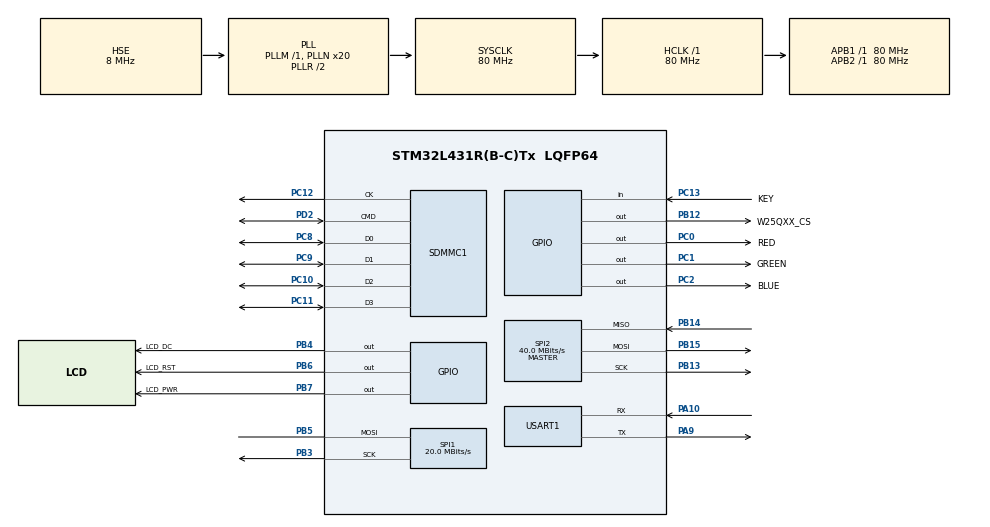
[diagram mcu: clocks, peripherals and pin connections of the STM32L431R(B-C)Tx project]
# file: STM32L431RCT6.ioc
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Mcu.Family=STM32L4
Mcu.Name=STM32L431R(B-C)Tx
Mcu.Package=LQFP64
NVIC.PriorityGroup=NVIC_PRIORITYGROUP_4
PA10.Mode=Asynchronous
PA10.Signal=USART1_RX
PA13\ (JTMS-SWDIO).Mode=Serial_Wire
PA13\ (JTMS-SWDIO).Signal=SYS_JTMS-SWDIO
PA14\ (JTCK-SWCLK).Mode=Serial_Wire
PA14\ (JTCK-SWCLK).Signal=SYS_JTCK-SWCLK
PA9.Mode=Asynchronous
PA9.Signal=USART1_TX
PB12.GPIO_Label=W25QXX_CS
PB12.GPIO_PuPd=GPIO_PULLUP
PB12.GPIO_Speed=GPIO_SPEED_FREQ_VERY_HIGH
PB12.PinState=GPIO_PIN_SET
PB12.Signal=GPIO_Output
PB13.Mode=Full_Duplex_Master
PB13.Signal=SPI2_SCK
PB14.Mode=Full_Duplex_Master
PB14.Signal=SPI2_MISO
PB15.Mode=Full_Duplex_Master
PB15.Signal=SPI2_MOSI
PB3\ (JTDO-TRACESWO).GPIO_PuPd=GPIO_PULLUP
PB3\ (JTDO-TRACESWO).Mode=Simplex_Bidirectional_Master
PB3\ (JTDO-TRACESWO).Signal=SPI1_SCK
PB4\ (NJTRST).GPIO_Label=LCD_DC
PB4\ (NJTRST).GPIO_PuPd=GPIO_PULLUP
PB4\ (NJTRST).GPIO_Speed=GPIO_SPEED_FREQ_VERY_HIGH
PB4\ (NJTRST).Signal=GPIO_Output
PB5.GPIO_PuPd=GPIO_PULLUP
PB5.Mode=Simplex_Bidirectional_Master
PB5.Signal=SPI1_MOSI
PB6.GPIO_Label=LCD_RST
PB6.GPIO_PuPd=GPIO_PULLUP
PB6.GPIO_Speed=GPIO_SPEED_FREQ_VERY_HIGH
PB6.Signal=GPIO_Output
PB7.GPIO_Label=LCD_PWR
PB7.GPIO_PuPd=GPIO_PULLUP
PB7.GPIO_Speed=GPIO_SPEED_FREQ_VERY_HIGH
PB7.Signal=GPIO_Output
PC0.GPIO_Label=RED
PC0.GPIO_PuPd=GPIO_PULLUP
PC0.PinState=GPIO_PIN_SET
PC0.Signal=GPIO_Output
PC1.GPIO_Label=GREEN
PC1.GPIO_PuPd=GPIO_PULLUP
PC1.PinState=GPIO_PIN_SET
PC1.Signal=GPIO_Output
PC10.Mode=SD_4_bits_Wide_bus
PC10.Signal=SDMMC1_D2
PC11.Mode=SD_4_bits_Wide_bus
PC11.Signal=SDMMC1_D3
PC12.Mode=SD_4_bits_Wide_bus
PC12.Signal=SDMMC1_CK
PC13.GPIO_Label=KEY
PC13.GPIO_Mode=GPIO_MODE_INPUT
PC13.GPIO_PuPd=GPIO_PULLUP
PC13.Signal=GPIO_Input
PC2.GPIO_Label=BLUE
PC2.GPIO_PuPd=GPIO_PULLUP
PC2.PinState=GPIO_PIN_SET
PC2.Signal=GPIO_Output
PC8.Mode=SD_4_bits_Wide_bus
PC8.Signal=SDMMC1_D0
PC9.Mode=SD_4_bits_Wide_bus
PC9.Signal=SDMMC1_D1
PD2.Mode=SD_4_bits_Wide_bus
PD2.Signal=SDMMC1_CMD
PH0-OSC_IN\ (PH0).Mode=HSE-External-Oscillator
PH0-OSC_IN\ (PH0).Signal=RCC_OSC_IN
PH1-OSC_OUT\ (PH1).Mode=HSE-External-Oscillator
PH1-OSC_OUT\ (PH1).Signal=RCC_OSC_OUT
ProjectManager.HeapSize=0x200
ProjectManager.StackSize=0x400
ProjectManager.TargetToolchain=MDK-ARM V5.27
RCC.ADCFreq_Value=32000000
RCC.AHBFreq_Value=80000000
RCC.APB1Freq_Value=80000000
RCC.APB1TimFreq_Value=80000000
RCC.APB2Freq_Value=80000000
RCC.APB2TimFreq_Value=80000000
RCC.CortexFreq_Value=80000000
RCC.HCLKFreq_Value=80000000
RCC.HSE_VALUE=8000000
RCC.HSI48_VALUE=48000000
RCC.HSI_VALUE=16000000
RCC.LSE_VALUE=32768
RCC.MSI_VALUE=4000000
RCC.PLLN=20
RCC.PLLSourceVirtual=RCC_PLLSOURCE_HSE
RCC.SYSCLKFreq_VALUE=80000000
RCC.SYSCLKSource=RCC_SYSCLKSOURCE_PLLCLK
RCC.VCOOutputFreq_Value=160000000
SDMMC1.ClockDiv=2
SPI1.BaudRatePrescaler=SPI_BAUDRATEPRESCALER_4
SPI1.CLKPhase=SPI_PHASE_2EDGE
SPI1.CLKPolarity=SPI_POLARITY_HIGH
SPI1.CalculateBaudRate=20.0 MBits/s
SPI1.DataSize=SPI_DATASIZE_8BIT
SPI1.Direction=SPI_DIRECTION_1LINE
SPI1.Mode=SPI_MODE_MASTER
SPI1.VirtualType=VM_MASTER
SPI2.CalculateBaudRate=40.0 MBits/s
SPI2.DataSize=SPI_DATASIZE_8BIT
SPI2.Direction=SPI_DIRECTION_2LINES
SPI2.Mode=SPI_MODE_MASTER
SPI2.VirtualType=VM_MASTER
USART1.VirtualMode-Asynchronous=VM_ASYNC
VP_FATFS_VS_SDIO.Mode=SDIO
board=custom

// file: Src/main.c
/* USER CODE BEGIN Header */
/**
  ******************************************************************************
  * @file           : main.c
  * @brief          : Main program body
  ******************************************************************************
  * @attention
  *
  * <h2><center>&copy; Copyright (c) 2020 STMicroelectronics.
  * All rights reserved.</center></h2>
  *
  * This software component is licensed by ST under BSD 3-Clause license,
  * the "License"; You may not use this file except in compliance with the
  * License. You may obtain a copy of the License at:
  *                        opensource.org/licenses/BSD-3-Clause
  *
  ******************************************************************************
  */
/* USER CODE END Header */
#include "main.h"
#include "fatfs.h"
#include "sdmmc.h"
#include "spi.h"
#include "usart.h"
#include "gpio.h"

/* USER CODE BEGIN Includes */
#include "stdio.h"
#include "tftlcd.h"
#include "w25qxx.h"
/* USER CODE END Includes */

void SystemClock_Config(void);

/* USER CODE BEGIN 0 */
	char str[50] = {0};
	u8 t;

HAL_SD_CardInfoTypeDef  SDCardInfo;

void printf_sdcard_info(void)
{
	uint64_t CardCap;      	//SD卡容量
	HAL_SD_CardCIDTypeDef SDCard_CID;

	HAL_SD_GetCardCID(&hsd1,&SDCard_CID);	//获取CID
	HAL_SD_GetCardInfo(&hsd1,&SDCardInfo);                    //获取SD卡信息
	CardCap=(uint64_t)(SDCardInfo.LogBlockNbr)*(uint64_t)(SDCardInfo.LogBlockSize);	//计算SD卡容量
	switch(SDCardInfo.CardType)
	{
		case CARD_SDSC:
		{
			if(SDCardInfo.CardVersion == CARD_V1_X)
				printf("Card Type:SDSC V1\r\n");
			else if(SDCardInfo.CardVersion == CARD_V2_X)
				printf("Card Type:SDSC V2\r\n");
		}
		break;
		case CARD_SDHC_SDXC:printf("Card Type:SDHC\r\n");break;
		default:break;
	}

  printf("Card ManufacturerID: %d \r\n",SDCard_CID.ManufacturerID);				//制造商ID
 	printf("CardVersion:         %d \r\n",(uint32_t)(SDCardInfo.CardVersion));		//卡版本号
	printf("Class:               %d \r\n",(uint32_t)(SDCardInfo.Class));		    //
 	printf("Card RCA(RelCardAdd):%d \r\n",SDCardInfo.RelCardAdd);					//卡相对地址
	printf("Card BlockNbr:       %d \r\n",SDCardInfo.BlockNbr);						//块数量
 	printf("Card BlockSize:      %d \r\n",SDCardInfo.BlockSize);					//块大小
	printf("LogBlockNbr:         %d \r\n",(uint32_t)(SDCardInfo.LogBlockNbr));		//逻辑块数量
	printf("LogBlockSize:        %d \r\n",(uint32_t)(SDCardInfo.LogBlockSize));		//逻辑块大小
	printf("Card Capacity:       %d MB\r\n",(uint32_t)(CardCap>>20));				//卡容量
}

/**
  * @brief  compares two buffers.
  * @param  pbuffer1, pbuffer2: buffers to be compared.
  * @param  buffer_length: buffer's length
  * @retval 1: pbuffer1 identical to pbuffer2
  *         0: pbuffer1 differs from pbuffer2
  */
uint8_t buffer_compare(uint8_t* pbuffer1, uint8_t* pbuffer2, uint16_t buffer_length)
{
  while(buffer_length--)
  {
    if(*pbuffer1 != *pbuffer2)
    {
      return 0;
    }
    pbuffer1++;
    pbuffer2++;
  }
  return 1;
}

  const char wbuf[] = "BORING-TECH STM32 TEST";
  char rbuf[50];

  const char wbuf1[] = "BORING-TECH STM32 TEST1";
  char rbuf1[20];
/* USER CODE END 0 */

int main(void)
{
  /* USER CODE BEGIN 1 */
	u8 color = 0;
	u32 flash_size;
		u8 sd_datus;
	u8 sd_buf;
  /* USER CODE END 1 */

  /* MCU Configuration--------------------------------------------------------*/

  /* Reset of all peripherals, Initializes the Flash interface and the Systick. */
  HAL_Init();

  /* Configure the system clock */
  SystemClock_Config();

  /* Initialize all configured peripherals */
  MX_GPIO_Init();
  MX_SPI1_Init();
  MX_SDMMC1_SD_Init();
  MX_SPI2_Init();
  MX_USART1_UART_Init();
  MX_FATFS_Init();
  /* USER CODE BEGIN 2 */
	LCD_Init();
	LCD_Clear(BLACK); 		//清屏
	BACK_COLOR=BLACK;
	POINT_COLOR=CYAN;
	LCD_ShowString(0, 0, 160, 12, 12, "Boring_TECH");
	LCD_ShowString(0, 15, 160, 12, 12, "TFTLCD TEST 240*135");

	LCD_ShowString(0, 30, 160, 16, 12, "STM32L0/L1/L4");
	LCD_ShowString(0, 45, 160, 12, 12, "2019/6/24");
//
	W25QXX_Init();
	while(W25QXX_ReadID()!=W25Q64)								//检测不到W25Q
	{
			HAL_Delay(100);
			HAL_GPIO_TogglePin(RED_GPIO_Port,RED_Pin);
	}
	printf("SPI Ready \r\n");

	flash_size=8*1024*1024;	//FLASH 大小为4M字节

	W25QXX_Write((u8*)wbuf,flash_size-100,sizeof(wbuf));
	W25QXX_Read((u8*)rbuf,flash_size-100,sizeof(wbuf));
  while(1 != buffer_compare((uint8_t*)rbuf, (uint8_t*)wbuf, sizeof(wbuf))){
			HAL_Delay(500);
			HAL_GPIO_TogglePin(RED_GPIO_Port,RED_Pin);
  }
	printf("W25Qxx data test ok.\r\n");
//
	SD_Driver.disk_initialize(0);
	printf_sdcard_info();
////
	sd_datus = SD_Driver.disk_write(0,(uint8_t*)wbuf1,20,2);
	printf("sd write content:\r\n%s\r\n",(uint8_t*)wbuf1);
	sd_datus = SD_Driver.disk_read(0,&sd_buf,20,2);
	printf("sd reak result:%d\r\n",sd_datus);
	printf("sd read content:\r\n%s\r\n",&sd_buf);;
  while(1 != buffer_compare(&sd_buf, (uint8_t*)wbuf1, sizeof(wbuf1))){
		HAL_Delay(500);
		LED_R_TogglePin;
		LED_G_TogglePin;
		LED_B_TogglePin;
  }
  /* USER CODE END 2 */

  /* Infinite loop */
  /* USER CODE BEGIN WHILE */
  while (1)
  {
		switch(color%7)
		{
			case 0:
				LED_R(0);
				LED_G(1);
				LED_B(1);
				break;
			case 1:
				LED_R(1);
				LED_G(0);
				LED_B(1);
				break;
			case 2:
				LED_R(1);
				LED_G(1);
				LED_B(0);
				break;
			case 3:
				LED_R(0);
				LED_G(0);
				LED_B(1);
				break;
			case 4:
				LED_R(0);
				LED_G(1);
				LED_B(0);
				break;
			case 5:
				LED_R(1);
				LED_G(0);
				LED_B(0);
				break;
			case 6:
				LED_R(0);
				LED_G(0);
				LED_B(0);
				break;
			default:
				break;
		}
		color++;

		sprintf(str,"%4dABCD",t);
		LCD_ShowString(0, 60, 240, 12, 12, str);
		t++;

		HAL_Delay(1000);
    /* USER CODE END WHILE */

  }
}

void SystemClock_Config(void)
{
  RCC_OscInitTypeDef RCC_OscInitStruct = {0};
  RCC_ClkInitTypeDef RCC_ClkInitStruct = {0};

  /** Configure the main internal regulator output voltage
  */
  if (HAL_PWREx_ControlVoltageScaling(PWR_REGULATOR_VOLTAGE_SCALE1) != HAL_OK)
  {
    Error_Handler();
  }

  /** Initializes the RCC Oscillators according to the specified parameters
  * in the RCC_OscInitTypeDef structure.
  */
  RCC_OscInitStruct.OscillatorType = RCC_OSCILLATORTYPE_HSE;
  RCC_OscInitStruct.HSEState = RCC_HSE_ON;
  RCC_OscInitStruct.PLL.PLLState = RCC_PLL_ON;
  RCC_OscInitStruct.PLL.PLLSource = RCC_PLLSOURCE_HSE;
  RCC_OscInitStruct.PLL.PLLM = 1;
  RCC_OscInitStruct.PLL.PLLN = 20;
  RCC_OscInitStruct.PLL.PLLP = RCC_PLLP_DIV7;
  RCC_OscInitStruct.PLL.PLLQ = RCC_PLLQ_DIV2;
  RCC_OscInitStruct.PLL.PLLR = RCC_PLLR_DIV2;
  if (HAL_RCC_OscConfig(&RCC_OscInitStruct) != HAL_OK)
  {
    Error_Handler();
  }

  /** Initializes the CPU, AHB and APB buses clocks
  */
  RCC_ClkInitStruct.ClockType = RCC_CLOCKTYPE_HCLK|RCC_CLOCKTYPE_SYSCLK
                              |RCC_CLOCKTYPE_PCLK1|RCC_CLOCKTYPE_PCLK2;
  RCC_ClkInitStruct.SYSCLKSource = RCC_SYSCLKSOURCE_PLLCLK;
  RCC_ClkInitStruct.AHBCLKDivider = RCC_SYSCLK_DIV1;
  RCC_ClkInitStruct.APB1CLKDivider = RCC_HCLK_DIV1;
  RCC_ClkInitStruct.APB2CLKDivider = RCC_HCLK_DIV1;

  if (HAL_RCC_ClockConfig(&RCC_ClkInitStruct, FLASH_LATENCY_4) != HAL_OK)
  {
    Error_Handler();
  }
}

void Error_Handler(void)
{
}
